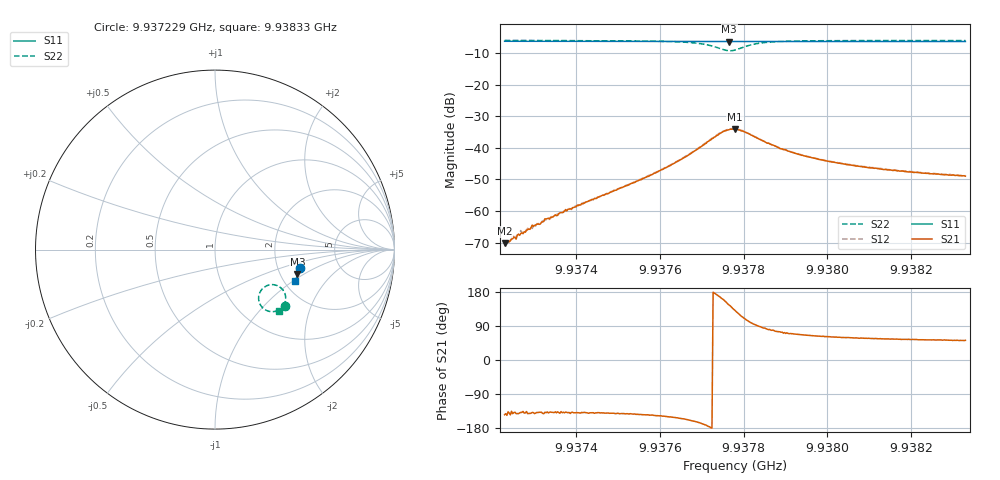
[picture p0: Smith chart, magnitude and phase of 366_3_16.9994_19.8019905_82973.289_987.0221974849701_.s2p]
#  HZ  S  RI  R  50.00
! Rohde & Schwarz Vector Network Analyzer
! Rohde-Schwarz,ZNB20-2Port,1311601062101988,3.16
! Created: UTC 3/20/2024, 11:08:27 PM
! freq[Hz]  re:S11  im:S11  re:S21  im:S21  re:S12  im:S12  re:S22  im:S22
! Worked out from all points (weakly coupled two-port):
!   401 points, 9.937229 GHz to 9.93833 GHz, reference 50 ohm
!   highest |S21| = -34.06 dB at 9.937779 GHz (marker M1); lowest = -70.2 dB at 9.937229 GHz (marker M2)
!   lowest |S11| = -6.4 dB at 9.937766 GHz (marker M3), VSWR 2.84, Z = 124 - j44.3 ohm
!   |S11| at or under -10 dB: nowhere
!   |S22| runs from -9.3 to -6.0 dB; largest |S21 - S12| = 0.00082
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9.937229e9  0.4726 -0.1035  -0.000252 -0.00018  -0.000226 -0.000164  0.3885 -0.312
9.93724e9  0.4725 -0.1041  -0.000251 -0.000209  -0.000287 -0.000182  0.3878 -0.3127
9.9372455e9  0.4724 -0.1046  -0.000257 -0.000254  -0.000319 -0.000238  0.3874 -0.313
9.937273e9  0.4717 -0.1064  -0.000315 -0.000307  -0.000383 -0.000283  0.3855 -0.3151
9.9372978e9  0.4712 -0.1082  -0.000431 -0.000375  -0.000437 -0.0004  0.3836 -0.3168
9.9373171e9  0.4709 -0.1094  -0.000493 -0.000447  -0.000506 -0.000448  0.3821 -0.3181
9.9373281e9  0.4706 -0.1103  -0.000567 -0.000493  -0.000554 -0.000469  0.3812 -0.319
9.9374134e9  0.4689 -0.1159  -0.000987 -0.000882  -0.000992 -0.0008  0.3734 -0.3255
9.93754e9  0.4659 -0.1243  -0.00225 -0.00174  -0.00232 -0.00172  0.3558 -0.3368
9.9375978e9  0.4646 -0.1283  -0.00363 -0.00232  -0.00371 -0.00229  0.3418 -0.3426
9.9376584e9  0.463 -0.1324  -0.00639 -0.00288  -0.00657 -0.00284  0.316 -0.346
9.9377079e9  0.4612 -0.1356  -0.0115 -0.00181  -0.0117 -0.0016  0.2754 -0.3326
9.9377465e9  0.4594 -0.1374  -0.0166 0.00491  -0.0168 0.00531  0.2431 -0.2742
9.9377657e9  0.4589 -0.138  -0.0159 0.0112  -0.0159 0.0119  0.2575 -0.226
9.9377795e9  0.4589 -0.1382  -0.0129 0.0151  -0.0126 0.0156  0.2873 -0.2017
9.9378043e9  0.4592 -0.1395  -0.0055 0.0169  -0.00498 0.0169  0.3465 -0.2007
9.9378373e9  0.4592 -0.1418  0.000349 0.0137  0.000742 0.0137  0.3847 -0.2342
9.9378896e9  0.4583 -0.1457  0.00277 0.00925  0.00292 0.00935  0.3941 -0.2747
9.9379639e9  0.4566 -0.1508  0.00301 0.00626  0.00318 0.00627  0.3882 -0.3023
9.9380465e9  0.4545 -0.1563  0.00279 0.00466  0.00293 0.0047  0.38 -0.318
9.9381483e9  0.4516 -0.1628  0.00254 0.00369  0.00264 0.00367  0.3714 -0.3302
9.93833e9  0.4466 -0.1745  0.00221 0.00281  0.0023 0.00281  0.3582 -0.3445
